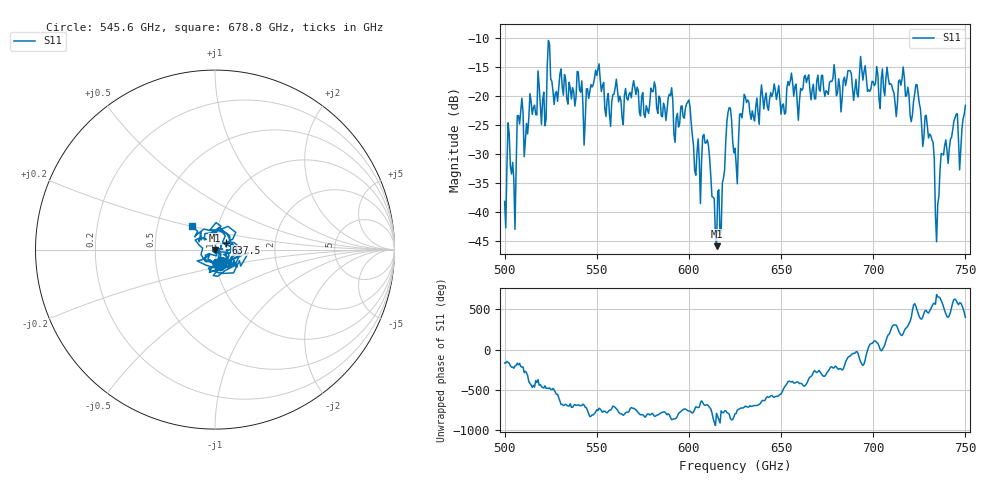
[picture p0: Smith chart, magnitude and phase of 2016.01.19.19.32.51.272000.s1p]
!Created with skrf (http://scikit-rf.org).
# GHz S RI R 50.0
!freq ReS11 ImS11
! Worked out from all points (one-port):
!   401 points, 500 GHz to 750 GHz, reference 50 ohm
!   lowest |S11| = -45.9 dB at 615 GHz (marker M1), VSWR 1.01, Z = 50.2 - j0.475 ohm
!   |S11| at or under -10 dB: start of sweep to end of sweep
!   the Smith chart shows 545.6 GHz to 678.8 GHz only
!   S11 on the Smith chart (normalised r, x): 545.6 GHz: 1.04, -0.19; 637.5 GHz: 1.12, +0.09; 678.8 GHz: 0.75, +0.20
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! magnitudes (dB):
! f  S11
! 500 GHz  -38.2
! 502.5 GHz  -26.6
! 505 GHz  -34.3
! 508.1 GHz  -24.9
! 521.2 GHz  -19.4
! 524.4 GHz  -11.1
! 531.2 GHz  -18.4
! 545.6 GHz  -20.5
! 562.5 GHz  -20.1
! 580.6 GHz  -19.2
! 593.8 GHz  -23.0
! 599.4 GHz  -21.1
! 605 GHz  -27.4
! 609.4 GHz  -28.1
! 615 GHz  -45.9
! 618.1 GHz  -35.0
! 621.9 GHz  -22.0
! 625 GHz  -29.0
! 630.6 GHz  -20.2
! 637.5 GHz  -22.9
! 656.2 GHz  -17.7
! 678.8 GHz  -14.6
! 687.5 GHz  -15.7
! 718.8 GHz  -18.6
! 731.2 GHz  -26.9
! 735 GHz  -38.7
! 738.1 GHz  -30.2
! 750 GHz  -21.7
